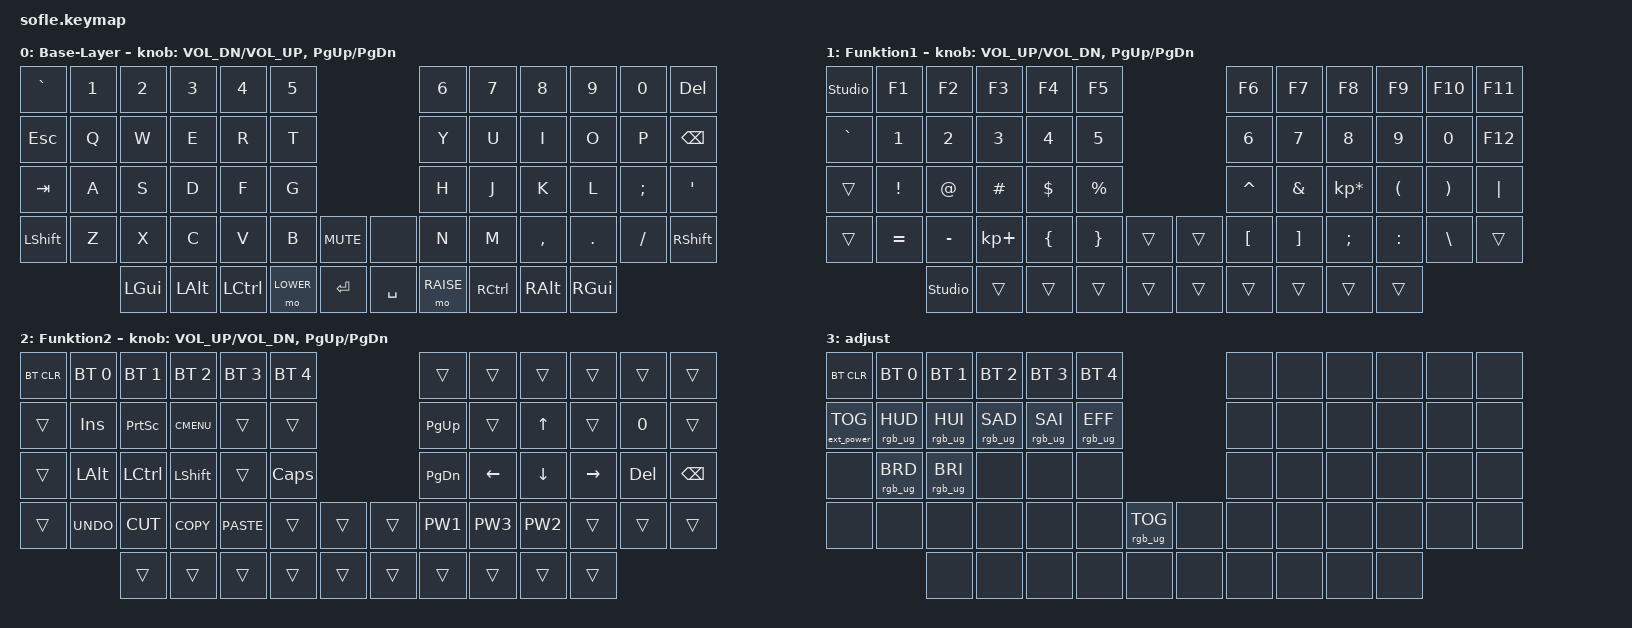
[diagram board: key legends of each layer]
/*
 * Copyright (c) 2020 The ZMK Contributors
 *
 * SPDX-License-Identifier: MIT
 */

#include <behaviors.dtsi>
#include <dt-bindings/zmk/bt.h>
#include <dt-bindings/zmk/ext_power.h>
#include <dt-bindings/zmk/keys.h>
#include <dt-bindings/zmk/rgb.h>

#define BASE 0
#define LOWER 1
#define RAISE 2
#define ADJUST 3

/ {
    // Activate ADJUST layer by pressing raise and lower

    conditional_layers {
        compatible = "zmk,conditional-layers";

        adjust_layer {
            if-layers = <LOWER RAISE>;
            then-layer = <ADJUST>;
        };
    };

    macros {
        PW1: new_macro {
            compatible = "zmk,behavior-macro";
            #binding-cells = <0>;
            bindings = <&kp DLLR &kp LS(T) &kp A &kp R &kp T &kp N1 &kp N9 &kp N7 &kp N6 &kp EXCL>;
            label = "NEW_MACRO";
        };

        PW2: PW2 {
            compatible = "zmk,behavior-macro";
            #binding-cells = <0>;
            bindings = <&kp L &kp A &kp D &kp LS(Z) &kp LS(U) &kp LS(F) &kp LS(W) &kp BSLH &kp W &kp N8 &kp N0 &kp LS(W) &kp U &kp COLON &kp N2 &kp N5 &kp COLON &kp N0 &kp N7>;
            label = "PW2";
        };

        PW3: PW3 {
            compatible = "zmk,behavior-macro";
            #binding-cells = <0>;
            bindings = <&kp A &kp S &kp D &kp F &kp LS(U) &kp LS(I) &kp LS(O) &kp LS(P) &kp N6 &kp N5 &kp N4 &kp DLLR &kp RET>;
            label = "PW3";
        };
    };

    keymap {
        compatible = "zmk,keymap";

        default_layer {
            label = "Base-Layer";

            // ------------------------------------------------------------------------------------------------------------
            // |   `   |  1  |  2  |  3   |  4   |  5   |                   |  6   |  7    |  8    |  9   |   0   |       |
            // |  ESC  |  Q  |  W  |  E   |  R   |  T   |                   |  Y   |  U    |  I    |  O   |   P   | BKSPC |
            // |  TAB  |  A  |  S  |  D   |  F   |  G   |                   |  H   |  J    |  K    |  L   |   ;   |   '   |
            // | SHIFT |  Z  |  X  |  C   |  V   |  B   |  MUTE  |  |       |  N   |  M    |  ,    |  .   |   /   | SHIFT |
            //               | GUI | ALT  | CTRL | LOWER|  ENTER |  | SPACE | RAISE| CTRL  | ALT   | GUI  |

            bindings = <
&kp GRAVE  &kp N1  &kp N2    &kp N3    &kp N4     &kp N5                              &kp N6     &kp N7     &kp N8     &kp N9    &kp N0    &kp DELETE
&kp ESC    &kp Q   &kp W     &kp E     &kp R      &kp T                               &kp Y      &kp U      &kp I      &kp O     &kp P     &kp BSPC
&kp TAB    &kp A   &kp S     &kp D     &kp F      &kp G                               &kp H      &kp J      &kp K      &kp L     &kp SEMI  &kp SQT
&kp LSHFT  &kp Z   &kp X     &kp C     &kp V      &kp B      &kp C_MUTE    &none      &kp N      &kp M      &kp COMMA  &kp DOT   &kp FSLH  &kp RSHFT
                   &kp LGUI  &kp LALT  &kp LCTRL  &mo LOWER  &kp RET       &kp SPACE  &mo RAISE  &kp RCTRL  &kp RALT   &kp RGUI
            >;

            sensor-bindings =
                <&inc_dec_kp C_VOL_DN C_VOL_UP>,
                <&inc_dec_kp PG_UP PG_DN>;
        };

        lower_layer {
            label = "Funktion1";

            // TODO: Some binds are waiting for shifted keycode support.
            // ------------------------------------------------------------------------------------------------------------
            // |       |  F1 |  F2 |  F3  |  F4  |  F5  |                   |  F6  |  F7   |  F8   |  F9  |  F10  |  F11  |
            // |   `   |  1  |  2  |  3   |  4   |  5   |                   |  6   |  7    |  8    |  9   |   0   |  F12  |
            // |       |  !  |  @  |  #   |  $   |  %   |                   |  ^   |  &    |  *    |  (   |   )   |   |   |
            // |       |  =  |  -  |  +   |  {   |  }   |        |  |       |  [   |  ]    |  ;    |  :   |   \   |       |
            //               |     |      |      |      |        |  |       |      |       |       |      |

            bindings = <
&studio_unlock  &kp F1     &kp F2          &kp F3       &kp F4    &kp F5                       &kp F6     &kp F7    &kp F8           &kp F9     &kp F10   &kp F11
&kp GRAVE       &kp N1     &kp N2          &kp N3       &kp N4    &kp N5                       &kp N6     &kp N7    &kp N8           &kp N9     &kp N0    &kp F12
&trans          &kp EXCL   &kp AT          &kp HASH     &kp DLLR  &kp PRCNT                    &kp CARET  &kp AMPS  &kp KP_MULTIPLY  &kp LPAR   &kp RPAR  &kp PIPE
&trans          &kp EQUAL  &kp MINUS       &kp KP_PLUS  &kp LBRC  &kp RBRC   &trans    &trans  &kp LBKT   &kp RBKT  &kp SEMI         &kp COLON  &kp BSLH  &trans
                           &studio_unlock  &trans       &trans    &trans     &trans    &trans  &trans     &trans    &trans           &trans
            >;

            sensor-bindings = <&inc_dec_kp C_VOL_UP C_VOL_DN &inc_dec_kp PG_UP PG_DN>;
        };

        raise_layer {
            label = "Funktion2";

            // ------------------------------------------------------------------------------------------------------------
            // | BTCLR | BT1  | BT2  |  BT3  |  BT4  |  BT5 |                |      |      |       |      |       |       |
            // |       | INS  | PSCR | GUI   |       |      |                | PGUP |      |   ^   |      |       |       |
            // |       | ALT  | CTRL | SHIFT |       | CAPS |                | PGDN |   <- |   v   |  ->  |  DEL  | BKSPC |
            // |       | UNDO | CUT  | COPY  | PASTE |      |      |  |      |      |      |       |      |       |       |
            //                |      |       |       |      |      |  |      |      |      |       |      |

            bindings = <
&bt BT_CLR  &bt BT_SEL 0  &bt BT_SEL 1  &bt BT_SEL 2  &bt BT_SEL 3  &bt BT_SEL 4                    &trans     &trans    &trans    &trans     &trans   &trans
&trans      &kp INS       &kp PSCRN     &kp K_CMENU   &trans        &trans                          &kp PG_UP  &trans    &kp UP    &trans     &kp N0   &trans
&trans      &kp LALT      &kp LCTRL     &kp LSHFT     &trans        &kp CLCK                        &kp PG_DN  &kp LEFT  &kp DOWN  &kp RIGHT  &kp DEL  &kp BSPC
&trans      &kp K_UNDO    &kp K_CUT     &kp K_COPY    &kp K_PASTE   &trans        &trans    &trans  &PW1       &PW3      &PW2      &trans     &trans   &trans
                          &trans        &trans        &trans        &trans        &trans    &trans  &trans     &trans    &trans    &trans
            >;

            sensor-bindings = <&inc_dec_kp C_VOL_UP C_VOL_DN &inc_dec_kp PG_UP PG_DN>;
        };

        adjust_layer {
            // ----------------------------------------------------------------------------------------------------------------------------
            // | BTCLR  |  BT1    |  BT2    |   BT3   |   BT4   |   BT5   |                  |      |      |       |      |       |       |
            // | EXTPWR | RGB_HUD | RGB_HUI | RGB_SAD | RGB_SAI | RGB_EFF |                  |      |      |       |      |       |       |
            // |        | RGB_BRD | RGB_BRI |         |         |         |                  |      |      |       |      |       |       |
            // |        |         |         |         |         |         | RGB_TOG | |      |      |      |       |      |       |       |
            //                    |         |         |         |         |         | |      |      |      |       |      |

            label = "adjust";
            bindings = <
&bt BT_CLR         &bt BT_SEL 0     &bt BT_SEL 1     &bt BT_SEL 2     &bt BT_SEL 3     &bt BT_SEL 4                               &none  &none  &none  &none  &none  &none
&ext_power EP_TOG  &rgb_ug RGB_HUD  &rgb_ug RGB_HUI  &rgb_ug RGB_SAD  &rgb_ug RGB_SAI  &rgb_ug RGB_EFF                            &none  &none  &none  &none  &none  &none
&none              &rgb_ug RGB_BRD  &rgb_ug RGB_BRI  &none            &none            &none                                      &none  &none  &none  &none  &none  &none
&none              &none            &none            &none            &none            &none            &rgb_ug RGB_TOG    &none  &none  &none  &none  &none  &none  &none
                                    &none            &none            &none            &none            &none              &none  &none  &none  &none  &none
            >;
        };
    };
};
